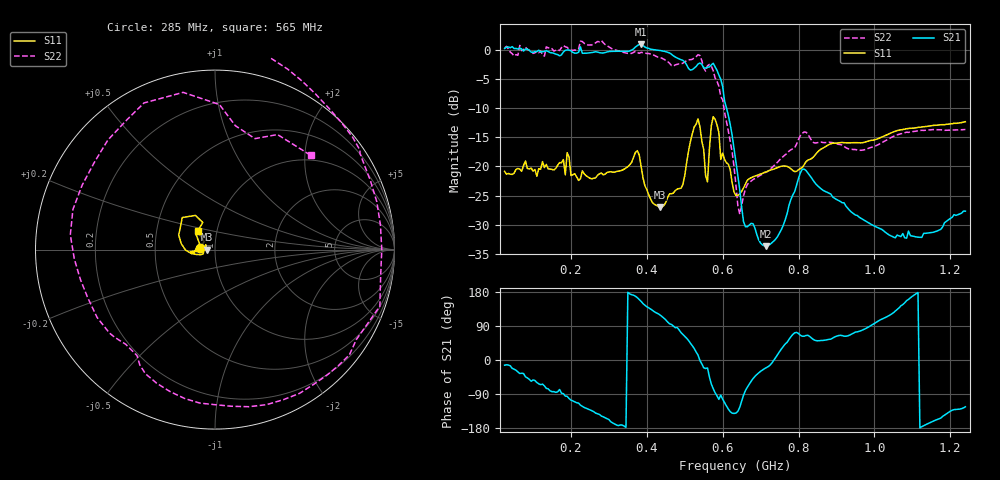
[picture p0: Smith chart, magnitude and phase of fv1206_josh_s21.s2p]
!Created with skrf (http://scikit-rf.org).
# Hz S RI R 50.0
!freq ReS11 ImS11 ReS21 ImS21 ReS12 ImS12 ReS22 ImS22
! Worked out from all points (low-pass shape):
!   244 points, 25 MHz to 1.24 GHz, reference 50 ohm
!   highest |S21| = 0.94 dB at 385 MHz (marker M1); lowest = -33.7 dB at 715 MHz (marker M2)
!   |S21| within 3 dB of the highest: start of sweep to 499.8 MHz
!   lowest |S11| = -27.0 dB at 435 MHz (marker M3), VSWR 1.09, Z = 45.7 - j0.0224 ohm
!   |S11| at or under -10 dB: start of sweep to end of sweep
!   |S22| runs from -28.2 to 1.6 dB; largest |S21 - S12| = 1.1
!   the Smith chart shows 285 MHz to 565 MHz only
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2.5e7  -0.0899 -0.0119  0.9972 -0.2439  0 0  0.826 -0.6285
8e7  -0.1113 -0.00294  0.7257 -0.7115  0 0  0.0533 -1.054
1.1e8  -0.0747 0.0346  0.4923 -0.8309  0 0  -0.3595 -0.8967
1.8e8  -0.0861 0.0753  0.0183 -0.958  0 0  -1.082 -0.1015
2.3e8  -0.091 -0.0107  -0.5002 -0.7887  0 0  -0.9007 0.759
2.8e8  -0.0877 0.00601  -0.7963 -0.499  0 0  0.0686 1.201
3.25e8  -0.0906 0.00949  -0.9668 -0.1154  0 0  0.808 0.5535
3.85e8  -0.099 -0.0111  -1.007 0.478  0 0  0.7491 -0.586
4.3e8  -0.0454 -1.19e-05  -0.526 0.8408  0 0  0.00241 -0.8643
4.35e8  -0.0448 -0.000244  -0.4738 0.8652  0 0  -0.0846 -0.8552
4.8e8  -0.0636 0.00617  0.0642 0.8484  0 0  -0.5883 -0.4647
5.05e8  -0.1045 -0.0272  0.4011 0.6258  0 0  -0.8061 0.0822
5.4e8  -0.1089 0.1904  0.7708 -0.0159  0 0  -0.1772 0.8761
5.6e8  -0.0601 0.0426  0.6618 -0.2532  0 0  0.3482 0.6409
5.7e8  -0.1175 0.1888  0.3343 -0.663  0 0  0.6312 0.3579
5.9e8  0.0139 0.1945  -0.1462 -0.59  0 0  0.4822 -0.0722
6.35e8  0.0114 0.0551  -0.0837 -0.0699  0 0  0.0403 -0.0558
6.55e8  0.0087 0.0648  -0.00165 -0.0336  0 0  0.0364 0.0426
7.15e8  -0.0252 0.086  0.0194 -0.00717  0 0  -0.00352 0.0892
8.35e8  -0.0201 0.1153  0.0428 0.0666  0 0  0.0509 0.1577
1.04e9  -0.1051 0.1599  -0.012 0.0227  0 0  -0.0783 0.1555
1.24e9  -0.2392 0.0346  -0.0228 -0.0345  0 0  -0.1999 0.0561
